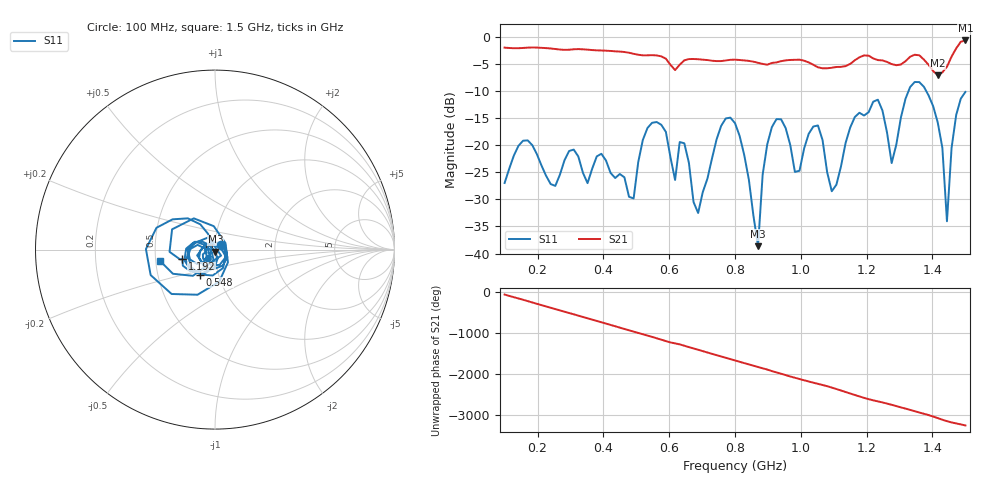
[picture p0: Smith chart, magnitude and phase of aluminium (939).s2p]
! NanoVNA-App
! Date: 2025-09-25 15:02:35
! Start: 100MHz Stop: 1,5GHz Points: 101
! S-Parameter data: F S11 S21 S12 S22
# Hz S RI R 50
!  Frequency  S11_Real  S11_Imag  S21_Real  S21_Imag  S12_Real  S12_Imag  S22_Real  S22_Imag
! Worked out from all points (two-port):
!   101 points, 100 MHz to 1.5 GHz, reference 50 ohm
!   highest |S21| = -0.59 dB at 1.5 GHz (marker M1); lowest = -7.0 dB at 1.416 GHz (marker M2)
!   |S21| within 3 dB of the highest: start of sweep to 578 MHz; 1.458 GHz to end of sweep (the widest 2 of 4)
!   lowest |S11| = -38.6 dB at 870 MHz (marker M3), VSWR 1.02, Z = 50.2 - j1.15 ohm
!   |S11| at or under -10 dB: start of sweep to 1.327 GHz; 1.381 GHz to end of sweep
!   S12 and S22 are empty: the file has one direction only
!   S11 on the Smith chart (normalised r, x): 100 MHz: 1.07, +0.06; 548 MHz: 0.82, -0.23; 1.192 GHz: 0.69, -0.08; 1.5 GHz: 0.53, -0.07
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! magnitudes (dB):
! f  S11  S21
! 100 MHz  -27.0  -1.9
! 156 MHz  -19.1  -2.0
! 338 MHz  -25.1  -2.2
! 492 MHz  -29.8  -3.1
! 548 MHz  -15.8  -3.3
! 576 MHz  -16.2  -3.5
! 646 MHz  -19.6  -4.3
! 688 MHz  -32.5  -4.1
! 800 MHz  -15.9  -4.1
! 870 MHz  -38.6  -4.7
! 912 MHz  -16.6  -4.8
! 982 MHz  -24.9  -4.2
! 1.038 GHz  -16.5  -5.1
! 1.094 GHz  -28.5  -5.6
! 1.192 GHz  -14.5  -3.4
! 1.234 GHz  -11.6  -4.2
! 1.276 GHz  -23.3  -5.0
! 1.346 GHz  -8.3  -3.2
! 1.416 GHz  -15.8  -7.0
! 1.444 GHz  -34.0  -5.5
! 1.472 GHz  -14.4  -2.1
! 1.5 GHz  -10.1  -0.6
